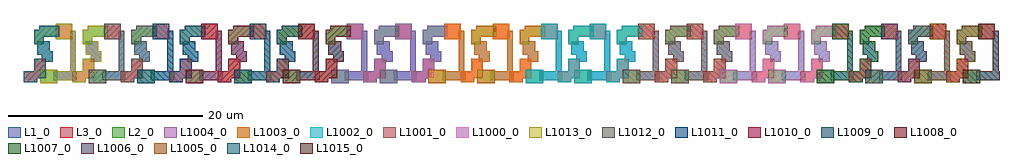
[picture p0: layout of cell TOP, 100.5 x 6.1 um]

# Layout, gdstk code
from math import pi, radians
import gdstk
lib = gdstk.Library(unit=1e-6, precision=1e-09)
def R(c, l, rs):  # rectangles x0, y0, x1, y1
    for r in rs: c.add(gdstk.rectangle(r[:2], r[2:], *l))
L1_0 = (1, 0)
L2_0 = (2, 0)
L3_0 = (3, 0)
L1000_0 = (1000, 0)
L1001_0 = (1001, 0)
L1002_0 = (1002, 0)
L1003_0 = (1003, 0)
L1004_0 = (1004, 0)
L1005_0 = (1005, 0)
L1006_0 = (1006, 0)
L1007_0 = (1007, 0)
L1008_0 = (1008, 0)
L1009_0 = (1009, 0)
L1010_0 = (1010, 0)
L1011_0 = (1011, 0)
L1012_0 = (1012, 0)
L1013_0 = (1013, 0)
L1014_0 = (1014, 0)
L1015_0 = (1015, 0)

c_c1 = lib.new_cell('C1')
R(c_c1, L1_0, [(-2.7,-3.3,-1.8,-0.9), (-2.1,-3.2,2.4,-2.6), (-0.8,-0.8,0.3,0.3), (-0.1,-0.5,1.3,0.8)])
R(c_c1, L2_0, [(1.8,-1.5,2.9,0.6), (-3,-1.3,-1.6,0.5), (1,0.1,2.5,1.1)])
R(c_c1, L3_0, [(1.5,-2.8,3.1,-1.1), (-2.5,-0.1,-0.5,1.1), (-2.9,0.8,-1.8,2.2)])

conn = lib.new_cell('CONN')
R(conn, L1_0, [(0,0,0.2,0.4)])

top = lib.new_cell('TOP')
R(top, L1000_0, [(63.6,0.5,65.4,1.9), (68.6,0.5,70.4,1.9), (66.9,0.6,68.3,1.7), (71.9,0.6,73.3,1.7), (65,0.8,67.4,1.7), (70,0.8,72.4,1.7), (68,1,69.2,3), (73,1,74.2,3), (66.7,1.4,67.3,5.9), (71.7,1.4,72.3,5.9), (68.8,2.7,69.9,3.8), (73.8,2.7,74.9,3.8), (68.3,3.4,69.6,4.8), (73.3,3.4,74.6,4.8), (68,4.5,69,6), (73,4.5,74,6), (65.2,5,66.9,6.6), (70.2,5,71.9,6.6), (68.5,5.3,70.6,6.4), (73.5,5.3,75.6,6.4), (70.3,5.8,70.5,6.2)])
R(top, L1001_0, [(53.6,0.5,55.4,1.9), (58.6,0.5,60.4,1.9), (56.9,0.6,58.3,1.7), (61.9,0.6,63.3,1.7), (55,0.8,57.4,1.7), (60,0.8,62.4,1.7), (58,1,59.2,3), (63,1,64.2,3), (56.7,1.4,57.3,5.9), (61.7,1.4,62.3,5.9), (58.8,2.7,59.9,3.8), (63.8,2.7,64.9,3.8), (58.3,3.4,59.6,4.8), (63.3,3.4,64.6,4.8), (58,4.5,59,6), (63,4.5,64,6), (55.2,5,56.9,6.6), (60.2,5,61.9,6.6), (58.5,5.3,60.6,6.4), (63.5,5.3,65.6,6.4), (60.3,5.8,60.5,6.2)])
R(top, L1002_0, [(43.6,0.5,45.4,1.9), (48.6,0.5,50.4,1.9), (46.9,0.6,48.3,1.7), (51.9,0.6,53.3,1.7), (45,0.8,47.4,1.7), (50,0.8,52.4,1.7), (48,1,49.2,3), (53,1,54.2,3), (46.7,1.4,47.3,5.9), (51.7,1.4,52.3,5.9), (48.8,2.7,49.9,3.8), (53.8,2.7,54.9,3.8), (48.3,3.4,49.6,4.8), (53.3,3.4,54.6,4.8), (48,4.5,49,6), (53,4.5,54,6), (45.2,5,46.9,6.6), (50.2,5,51.9,6.6), (48.5,5.3,50.6,6.4), (53.5,5.3,55.6,6.4), (50.3,5.8,50.5,6.2)])
R(top, L1003_0, [(33.6,0.5,35.4,1.9), (38.6,0.5,40.4,1.9), (36.9,0.6,38.3,1.7), (41.9,0.6,43.3,1.7), (35,0.8,37.4,1.7), (40,0.8,42.4,1.7), (38,1,39.2,3), (43,1,44.2,3), (36.7,1.4,37.3,5.9), (41.7,1.4,42.3,5.9), (38.8,2.7,39.9,3.8), (43.8,2.7,44.9,3.8), (38.3,3.4,39.6,4.8), (43.3,3.4,44.6,4.8), (38,4.5,39,6), (43,4.5,44,6), (35.2,5,36.9,6.6), (40.2,5,41.9,6.6), (38.5,5.3,40.6,6.4), (43.5,5.3,45.6,6.4), (40.3,5.8,40.5,6.2)])
R(top, L1004_0, [(23.6,0.5,25.4,1.9), (28.6,0.5,30.4,1.9), (26.9,0.6,28.3,1.7), (31.9,0.6,33.3,1.7), (25,0.8,27.4,1.7), (30,0.8,32.4,1.7), (28,1,29.2,3), (33,1,34.2,3), (26.7,1.4,27.3,5.9), (31.7,1.4,32.3,5.9), (28.8,2.7,29.9,3.8), (33.8,2.7,34.9,3.8), (28.3,3.4,29.6,4.8), (33.3,3.4,34.6,4.8), (28,4.5,29,6), (33,4.5,34,6), (25.2,5,26.9,6.6), (30.2,5,31.9,6.6), (28.5,5.3,30.6,6.4), (33.5,5.3,35.6,6.4), (30.3,5.8,30.5,6.2)])
R(top, L1005_0, [(83.6,0.5,85.4,1.9), (86.9,0.6,88.3,1.7), (85,0.8,87.4,1.7), (88,1,89.2,3), (86.7,1.4,87.3,5.9), (88.8,2.7,89.9,3.8), (88.3,3.4,89.6,4.8), (88,4.5,89,6), (85.2,5,86.9,6.6), (88.5,5.3,90.6,6.4)])
R(top, L1006_0, [(78.6,0.5,80.4,1.9), (81.9,0.6,83.3,1.7), (80,0.8,82.4,1.7), (83,1,84.2,3), (81.7,1.4,82.3,5.9), (83.8,2.7,84.9,3.8), (83.3,3.4,84.6,4.8), (83,4.5,84,6), (80.2,5,81.9,6.6), (83.5,5.3,85.6,6.4)])
R(top, L1007_0, [(73.6,0.5,75.4,1.9), (76.9,0.6,78.3,1.7), (75,0.8,77.4,1.7), (78,1,79.2,3), (76.7,1.4,77.3,5.9), (78.8,2.7,79.9,3.8), (78.3,3.4,79.6,4.8), (78,4.5,79,6), (75.2,5,76.9,6.6), (78.5,5.3,80.6,6.4)])
R(top, L1008_0, [(18.6,0.5,20.4,1.9), (21.9,0.6,23.3,1.7), (20,0.8,22.4,1.7), (23,1,24.2,3), (21.7,1.4,22.3,5.9), (23.8,2.7,24.9,3.8), (23.3,3.4,24.6,4.8), (23,4.5,24,6), (20.2,5,21.9,6.6), (23.5,5.3,25.6,6.4)])
R(top, L1009_0, [(13.6,0.5,15.4,1.9), (16.9,0.6,18.3,1.7), (15,0.8,17.4,1.7), (18,1,19.2,3), (16.7,1.4,17.3,5.9), (18.8,2.7,19.9,3.8), (18.3,3.4,19.6,4.8), (18,4.5,19,6), (15.2,5,16.9,6.6), (18.5,5.3,20.6,6.4)])
R(top, L1010_0, [(8.6,0.5,10.4,1.9), (11.9,0.6,13.3,1.7), (10,0.8,12.4,1.7), (13,1,14.2,3), (11.7,1.4,12.3,5.9), (13.8,2.7,14.9,3.8), (13.3,3.4,14.6,4.8), (13,4.5,14,6), (10.2,5,11.9,6.6), (13.5,5.3,15.6,6.4)])
R(top, L1011_0, [(3.6,0.5,5.4,1.9), (6.9,0.6,8.3,1.7), (5,0.8,7.4,1.7), (8,1,9.2,3), (6.7,1.4,7.3,5.9), (8.8,2.7,9.9,3.8), (8.3,3.4,9.6,4.8), (8,4.5,9,6), (5.2,5,6.9,6.6), (8.5,5.3,10.6,6.4)])
R(top, L1012_0, [(-1.4,0.5,0.4,1.9), (1.9,0.6,3.3,1.7), (0,0.8,2.4,1.7), (3,1,4.2,3), (1.7,1.4,2.3,5.9), (3.8,2.7,4.9,3.8), (3.3,3.4,4.6,4.8), (3,4.5,4,6), (0.2,5,1.9,6.6), (3.5,5.3,5.6,6.4)])
R(top, L1013_0, [(-6.4,0.5,-4.6,1.9), (-3.1,0.6,-1.7,1.7), (-5,0.8,-2.6,1.7), (-2,1,-0.8,3), (-3.3,1.4,-2.7,5.9), (-1.2,2.7,-0.1,3.8), (-1.7,3.4,-0.4,4.8), (-2,4.5,-1,6), (-4.8,5,-3.1,6.6), (-1.5,5.3,0.6,6.4)])
R(top, L1014_0, [(-8.1,0.6,-6.7,1.7), (-7,1,-5.8,3), (-6.2,2.7,-5.1,3.8), (-6.7,3.4,-5.4,4.8), (-7,4.5,-6,6), (-6.5,5.3,-4.4,6.4)])
R(top, L1015_0, [(88.6,0.5,90.4,1.9), (90,0.8,92.4,1.7), (91.7,1.4,92.3,5.9), (90.2,5,91.9,6.6)])
r = gdstk.Reference(c_c1, (89.1,3.5), rotation=pi/2); r.repetition = gdstk.Repetition(1, 20, v1=(0,0), v2=(-5,0)); top.add(r)
r = gdstk.Reference(conn, (30.3,5.8)); r.repetition = gdstk.Repetition(5, 1, v1=(10,0), v2=(0,0)); top.add(r)

lib.write_gds('TOP.gds')
